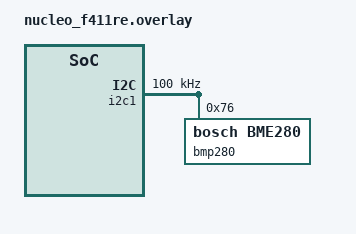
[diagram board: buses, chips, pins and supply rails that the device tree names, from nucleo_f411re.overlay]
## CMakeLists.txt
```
cmake_minimum_required(VERSION 3.28.0)

set(ZEPHYR_BASE "${CMAKE_CURRENT_LIST_DIR}/lib/zephyr-workspace/zephyr" CACHE PATH "Zephyr base" FORCE)

set(Zephyr_DIR "${ZEPHYR_BASE}/share/zephyr-package/cmake" CACHE PATH "Zephyr package" FORCE)

# Zephyr discovers module CMake and Kconfig files during find_package().
list(APPEND EXTRA_ZEPHYR_MODULES "${CMAKE_CURRENT_SOURCE_DIR}/lib/pigweed")
find_package(Zephyr REQUIRED HINTS "${ZEPHYR_BASE}")

project(IEEE_Zephyr_Demo C CXX)

target_sources(app PRIVATE src/main.cpp)

add_subdirectory(src/SensorManager)
add_subdirectory(src/SharedSensorData)
add_subdirectory(src/Threading)
add_subdirectory(src/StatusLed)
```

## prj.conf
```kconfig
# C++17 and the complete standard library required by Pigweed.
CONFIG_CPP=y
CONFIG_STD_CPP17=y
CONFIG_REQUIRES_FULL_LIBCPP=y
CONFIG_GLIBCXX_LIBCPP=y
CONFIG_CPP_EXCEPTIONS=n

# LED and UART console support.
CONFIG_GPIO=y
CONFIG_SERIAL=y
CONFIG_CONSOLE=y
CONFIG_UART_CONSOLE=y

# Timestamped demonstration logs, formatted by Zephyr's UART backend.
CONFIG_LOG=y
CONFIG_LOG_DEFAULT_LEVEL=3
CONFIG_LOG_BACKEND_UART=y
CONFIG_LOG_MODE_DEFERRED=y
CONFIG_LOG_PROCESS_THREAD=y
CONFIG_LOG_PROCESS_THREAD_SLEEP_MS=100
CONFIG_LOG_PROCESS_THREAD_STACK_SIZE=3072
CONFIG_LOG_BUFFER_SIZE=4096
CONFIG_LOG_BACKEND_SHOW_TIMESTAMP=y
CONFIG_LOG_BACKEND_SHOW_LEVEL=y
CONFIG_LOG_BACKEND_SHOW_COLOR=n
CONFIG_LOG_PRINTK=y
CONFIG_CBPRINTF_FP_SUPPORT=y

# Route Pigweed PW_LOG_* messages through Zephyr's UART logging backend.
CONFIG_PIGWEED_LOG_ZEPHYR=y
CONFIG_PIGWEED_LOG_LEVEL_INF=y

# BMP280 support is provided by Zephyr's shared BME280/BMP280 driver.
CONFIG_I2C=y
CONFIG_SENSOR=y
CONFIG_BME280=y
CONFIG_BME280_MODE_FORCED=y

# Pigweed's C++ interfaces use the Zephyr kernel underneath.
CONFIG_PIGWEED_SYNC_MUTEX=y
CONFIG_PIGWEED_THREAD=y
CONFIG_PIGWEED_THREAD_SLEEP=y
CONFIG_PIGWEED_CHRONO_SYSTEM_CLOCK=y
CONFIG_MULTITHREADING=y
CONFIG_THREAD_NAME=y
CONFIG_NUM_PREEMPT_PRIORITIES=8
CONFIG_MAIN_STACK_SIZE=2048
CONFIG_ASSERT=y
```

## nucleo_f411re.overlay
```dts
&i2c1 {
	status = "okay";
	clock-frequency = <100000>;

	bmp280: pressure@76 {
		compatible = "bosch,bme280";
		reg = <0x76>;
		status = "okay";
	};
};
```

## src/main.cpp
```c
#include <chrono>
#include <cinttypes>

#include <zephyr/kernel.h>
#include <zephyr/drivers/gpio.h>
#include <zephyr/logging/log.h>
#include <zephyr/version.h>

#include "PeriodicTask.hpp"
#include "Reading.hpp"
#include "SensorManager.hpp"
#include "SharedSensorData.hpp"
#include "StatusLed.hpp"

LOG_MODULE_REGISTER(demo);

namespace {
constexpr uint64_t StaleAfterMs = 500;

void logSensorData(const SharedSensorData::Snapshot &snapshot) {
    const Reading &reading = snapshot.last_valid_reading;

    if (!reading.calibrated) {
        if (snapshot.last_error < 0) {
            LOG_ERR("Sensor unavailable (read error %d)", snapshot.last_error);
        } else {
            LOG_INF(
                "Sensor calibrating; keep it still until a reading is ready");
        }
        return;
    }

    const uint64_t age_ms =
        static_cast<uint64_t>(k_uptime_get()) - reading.timestamp_ms;

    LOG_INF("Sensor reading #%" PRIu32, reading.sequence);
    LOG_INF("  Pressure         : %.3f kPa",
            static_cast<double>(reading.pressure_kpa));
    LOG_INF("  Temperature      : %.2f C",
            static_cast<double>(reading.temperature_c));
    LOG_INF("  Relative altitude: %+.2f m",
            static_cast<double>(reading.altitude_m));
    LOG_INF("  Reading age      : %" PRIu64 " ms", age_ms);

    if (age_ms > StaleAfterMs) {
        LOG_WRN("  Read status      : STALE (last error %d)",
                snapshot.last_error);
    } else if (snapshot.last_error < 0) {
        LOG_WRN(
            "  Read status      : ERROR %d; displaying the last valid reading",
            snapshot.last_error);
    } else {
        LOG_INF("  Read status      : FRESH");
    }
}

void logSystemStatus(const SharedSensorData::Snapshot &snapshot,
                     uint32_t missed_runs) {
    LOG_INF("System status");
    LOG_INF("  Uptime           : %" PRIu64 " ms",
            static_cast<uint64_t>(k_uptime_get()));
    LOG_INF("  Failed reads     : %" PRIu32, snapshot.failed_reads);
    LOG_INF("  Last read error  : %d", snapshot.last_error);
    LOG_INF("  Missed task runs : %" PRIu32, missed_runs);
}
} // namespace

#define BMP280_NODE DT_NODELABEL(bmp280)

// Get the BMP280 device
static const struct device *bmp280_dev =
    DEVICE_DT_GET(BMP280_NODE);

#define LED_NODE DT_ALIAS(led0)
const gpio_dt_spec led_dev = GPIO_DT_SPEC_GET(LED_NODE, gpios);

int main() {
    using namespace std::chrono_literals;

    // Components own their hardware/resources; main only connects their APIs.
    static SensorManager sensorManager;
    static SharedSensorData sensorData;
    static StatusLed statusLed;

    sensorManager.configure(bmp280_dev);
    statusLed.configure(&led_dev);

    // The task runner accepts actions without knowing the components they use.
    static PeriodicTask samplingTask("sampling", 3, 100ms, [] {
        const Reading reading = sensorManager.readSensorData();
        sensorData.update(reading);
    });
    
    static PeriodicTask heartbeatTask("heartbeat", 5, 500ms,
                                      [] { statusLed.toggle(); });
    
    static PeriodicTask reportingTask("reporting", 7, 1s, [] {
        const auto snapshot = sensorData.read();
        logSensorData(snapshot);
        logSystemStatus(snapshot, samplingTask.missedRuns());
    });

    samplingTask.start();
    heartbeatTask.start();
    reportingTask.start();
    return 0;
}
```
